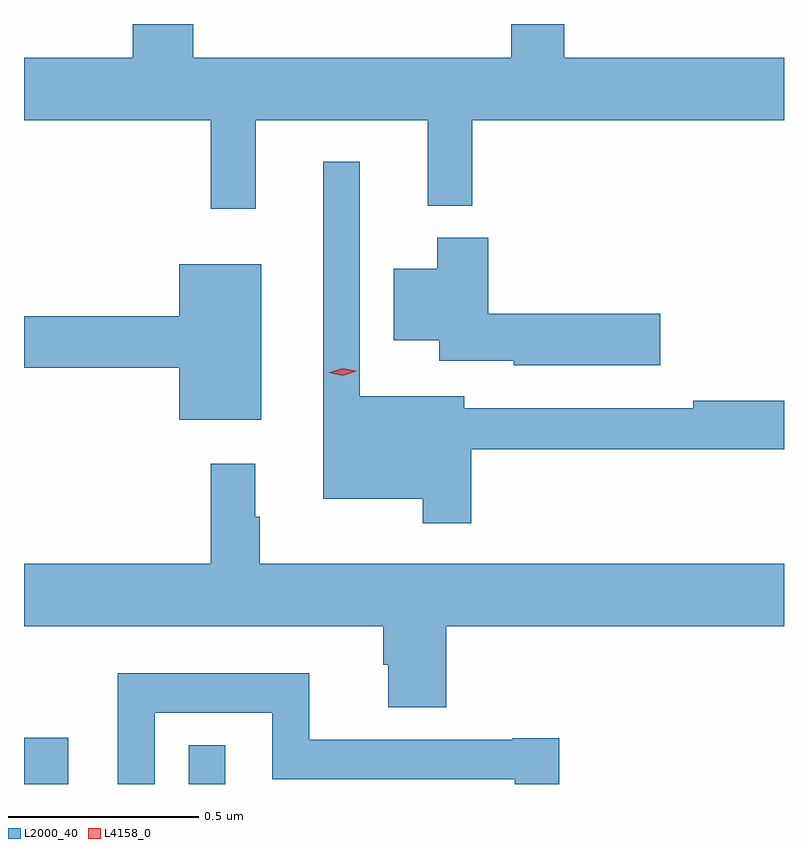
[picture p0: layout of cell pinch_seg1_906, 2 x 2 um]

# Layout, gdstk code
import gdstk
lib = gdstk.Library(unit=1e-6, precision=1e-09)
def R(c, l, rs):  # rectangles x0, y0, x1, y1
    for r in rs: c.add(gdstk.rectangle(r[:2], r[2:], *l))
def P(c, l, *ps):  # polygons
    for p in ps: c.add(gdstk.Polygon(p, *l))
L2000_40 = (2000, 40)
L4158_0 = (4158, 0)

pinch_seg1_906 = lib.new_cell('pinch_seg1_906')
R(pinch_seg1_906, L2000_40, [(525.919,524.677,526.036,524.799), (526.353,524.677,526.449,524.779)])
P(pinch_seg1_906, L2000_40, [(526.365,526.677),(526.205,526.677),(526.205,526.588),(525.919,526.588),(525.919,526.424),(526.411,526.424),(526.411,526.191),(526.529,526.191),(526.529,526.424),(526.982,526.424),(526.982,526.199),(527.099,526.199),(527.099,526.424),(527.919,526.424),(527.919,526.588),(527.341,526.588),(527.341,526.677),(527.201,526.677),(527.201,526.588),(526.365,526.588)],
  [(527.096,525.558),(527.919,525.558),(527.919,525.686),(527.68,525.686),(527.68,525.666),(527.077,525.666),(527.077,525.697),(526.803,525.697),(526.803,526.315),(526.706,526.315),(526.706,525.428),(526.968,525.428),(526.968,525.363),(527.096,525.363)],
  [(527.593,525.914),(527.141,525.914),(527.141,526.114),(527.006,526.114),(527.006,526.033),(526.892,526.033),(526.892,525.845),(527.012,525.845),(527.012,525.791),(527.208,525.791),(527.208,525.779),(527.593,525.779)],
  [(526.543,526.045),(526.328,526.045),(526.328,525.908),(525.919,525.908),(525.919,525.772),(526.328,525.772),(526.328,525.635),(526.543,525.635)],
  [(527.03,525.092),(527.919,525.092),(527.919,525.256),(526.54,525.256),(526.54,525.38),(526.528,525.38),(526.528,525.52),(526.411,525.52),(526.411,525.256),(525.919,525.256),(525.919,525.092),(526.865,525.092),(526.865,524.991),(526.877,524.991),(526.877,524.879),(527.03,524.879)],
  [(526.263,524.864),(526.572,524.864),(526.572,524.69),(527.211,524.69),(527.211,524.677),(527.327,524.677),(527.327,524.797),(527.204,524.797),(527.204,524.794),(526.67,524.794),(526.67,524.968),(526.166,524.968),(526.166,524.677),(526.263,524.677)])
P(pinch_seg1_906, L4158_0, [(526.758,525.751),(526.721,525.759),(526.721,525.759),(526.721,525.759),(526.756,525.771),(526.793,525.764),(526.793,525.763),(526.793,525.763)])

lib.write_gds('pinch_seg1_906.gds')
